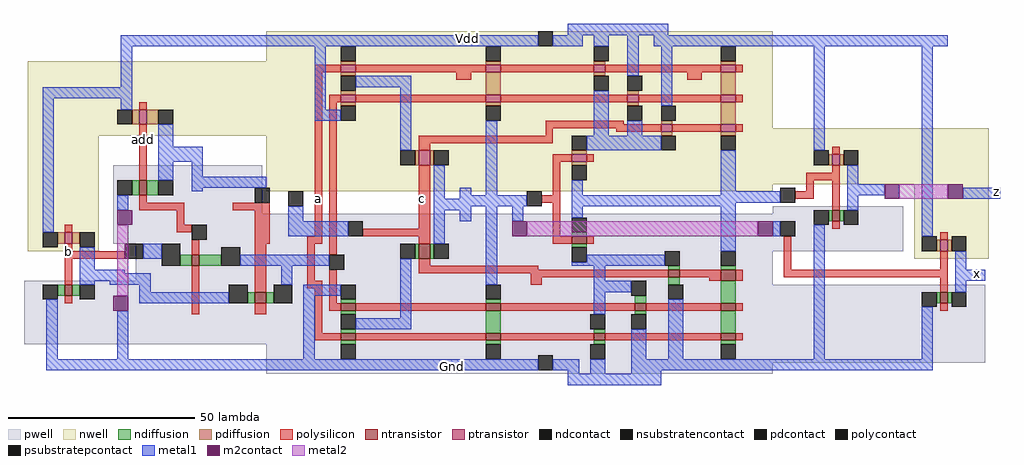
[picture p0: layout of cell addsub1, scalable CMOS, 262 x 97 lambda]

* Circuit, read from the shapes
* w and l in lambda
.subckt addsub1 Gnd Vdd a add b c x z
M1 n1 b Gnd Gnd nfet w=3 l=2
M2 n2 add Gnd Gnd nfet w=4 l=2
M3 n3 add b Gnd nfet w=3 l=2
M4 n3 n2 n1 Gnd nfet w=3 l=3
M5 n4 a Gnd Gnd nfet w=4 l=2
M6 Gnd n3 n4 Gnd nfet w=4 l=2
M7 n5 c n4 Gnd nfet w=4 l=3
M8 n6 a Gnd Gnd nfet w=4 l=2
M9 n5 n3 n6 Gnd nfet w=4 l=2
M10 n7 n5 n8 Gnd nfet w=4 l=2
M11 n8 a Gnd Gnd nfet w=3 l=2
M12 n8 n3 Gnd Gnd nfet w=3 l=2
M13 n8 c Gnd Gnd nfet w=3 l=2
M14 n9 a Gnd Gnd nfet w=4 l=2
M15 n10 n3 n9 Gnd nfet w=4 l=2
M16 n7 c n10 Gnd nfet w=4 l=3
M17 z n7 Gnd Gnd nfet w=3 l=2
M18 x n5 Gnd Gnd nfet w=3 l=2
M19 n1 b Vdd Vdd pfet w=3 l=2
M20 n2 add Vdd Vdd pfet w=4 l=2
M21 n11 n3 Vdd Vdd pfet w=4 l=2
M22 Vdd a n11 Vdd pfet w=4 l=2
M23 n5 c n11 Vdd pfet w=4 l=3
M24 n12 n3 n5 Vdd pfet w=4 l=2
M25 Vdd a n12 Vdd pfet w=4 l=2
M26 n13 n5 n7 Vdd pfet w=4 l=2
M27 Vdd a n13 Vdd pfet w=3 l=2
M28 Vdd n3 n13 Vdd pfet w=3 l=2
M29 Vdd c n13 Vdd pfet w=3 l=2
M30 n14 c n7 Vdd pfet w=4 l=2
M31 n15 n3 n14 Vdd pfet w=4 l=2
M32 Vdd a n15 Vdd pfet w=4 l=2
M33 z n7 Vdd Vdd pfet w=3 l=2
M34 x n5 Vdd Vdd pfet w=3 l=2
.ends

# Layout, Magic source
magic
tech scmos
<< pwell >>
rect -89 12 -49 25
rect 88 12 123 14
rect -89 4 123 12
rect -83 2 123 4
rect -83 -6 88 2
rect -113 -7 88 -6
rect -113 -23 145 -7
rect -48 -28 145 -23
rect -48 -31 88 -28
<< nwell >>
rect -48 53 88 61
rect -112 35 88 53
rect -112 33 146 35
rect -112 2 -93 33
rect -48 20 146 33
rect -48 18 88 20
rect 126 0 146 20
<< polysilicon >>
rect -35 50 -28 52
rect -24 50 11 52
rect 15 50 40 52
rect 43 50 74 52
rect 78 50 80 52
rect -82 40 -80 42
rect -82 21 -80 36
rect -82 15 -80 17
rect -82 13 -70 15
rect -57 13 -47 15
rect -72 9 -70 13
rect -102 7 -100 9
rect -72 7 -68 9
rect -102 2 -100 4
rect -102 0 -86 2
rect -102 -7 -100 0
rect -68 1 -66 5
rect -51 4 -47 13
rect -35 6 -33 50
rect 3 48 7 50
rect 65 48 69 50
rect -37 4 -33 6
rect -31 42 -28 44
rect -24 42 11 44
rect 15 42 49 44
rect 52 42 74 44
rect 78 42 80 44
rect -102 -12 -100 -10
rect -68 -15 -66 -2
rect -51 -9 -48 4
rect -37 -6 -35 4
rect -31 1 -29 42
rect 27 36 48 37
rect 27 35 58 36
rect 27 33 29 35
rect 46 34 58 35
rect 61 34 74 36
rect 78 34 80 36
rect -7 31 29 33
rect -7 29 -4 31
rect 29 26 34 28
rect 38 26 40 28
rect -7 8 -4 25
rect 29 17 31 26
rect 104 28 106 30
rect 104 23 106 25
rect 97 21 106 23
rect 26 15 31 17
rect 97 18 99 21
rect 94 16 99 18
rect -22 6 -4 8
rect -7 4 -4 6
rect 29 6 31 15
rect 104 13 106 21
rect 104 8 106 10
rect 29 4 34 6
rect 38 4 40 6
rect -7 -2 -4 0
rect -7 -3 25 -2
rect 91 -3 93 6
rect 133 5 135 7
rect 133 -3 135 2
rect -37 -8 -33 -6
rect -51 -15 -48 -12
rect -35 -20 -33 -8
rect -31 -12 -29 -3
rect -7 -4 60 -3
rect 23 -5 60 -4
rect 63 -5 74 -3
rect 23 -7 26 -5
rect 71 -6 74 -5
rect 78 -6 80 -3
rect 91 -5 135 -3
rect 133 -9 135 -5
rect -31 -14 -28 -12
rect -24 -14 11 -12
rect 15 -14 51 -12
rect 54 -14 74 -12
rect 78 -14 80 -12
rect 133 -14 135 -12
rect -35 -22 -28 -20
rect -24 -22 11 -20
rect 15 -22 40 -20
rect 43 -22 74 -20
rect 78 -22 80 -20
<< ndiffusion >>
rect -84 17 -82 21
rect -80 17 -77 21
rect -71 -2 -68 1
rect -66 -2 -60 1
rect -104 -10 -102 -7
rect -100 -10 -98 -7
rect 34 6 38 7
rect 103 10 104 13
rect 106 10 107 13
rect -8 0 -7 4
rect -4 0 -3 4
rect 34 3 38 4
rect 60 -3 63 -2
rect 74 -3 78 -2
rect -53 -12 -51 -9
rect -48 -12 -46 -9
rect -28 -12 -24 -11
rect 11 -12 15 -11
rect 51 -12 54 -10
rect 60 -7 63 -5
rect 74 -12 78 -6
rect 132 -12 133 -9
rect 135 -12 136 -9
rect -28 -15 -24 -14
rect -28 -20 -24 -19
rect 11 -20 15 -14
rect 51 -15 54 -14
rect 40 -20 43 -19
rect 74 -20 78 -14
rect -28 -23 -24 -22
rect 11 -23 15 -22
rect 40 -23 43 -22
rect 74 -23 78 -22
<< pdiffusion >>
rect -28 52 -24 53
rect 11 52 15 53
rect 40 52 43 53
rect 74 52 78 53
rect -84 36 -82 40
rect -80 36 -77 40
rect -104 4 -102 7
rect -100 4 -98 7
rect -28 49 -24 50
rect -28 44 -24 45
rect 11 44 15 50
rect 40 49 43 50
rect 49 44 52 45
rect 74 44 78 50
rect -28 41 -24 42
rect 11 41 15 42
rect 49 41 52 42
rect 58 36 61 37
rect 74 36 78 42
rect 58 33 61 34
rect 74 33 78 34
rect -8 25 -7 29
rect -4 25 -3 29
rect 34 28 38 29
rect 34 25 38 26
rect 103 25 104 28
rect 106 25 107 28
rect 132 2 133 5
rect 135 2 136 5
<< metal1 >>
rect -87 57 25 60
rect 33 60 60 63
rect 29 57 37 60
rect 40 57 44 60
rect -87 46 -84 57
rect -108 43 -84 46
rect -108 7 -105 43
rect -87 40 -84 43
rect -35 40 -32 57
rect 49 49 52 60
rect 56 57 135 60
rect -24 46 -9 49
rect -35 37 -28 40
rect -77 30 -73 36
rect -77 26 -65 30
rect -77 21 -73 26
rect -68 22 -65 26
rect -12 29 -9 46
rect -68 19 -48 22
rect -68 18 -65 19
rect -88 13 -85 17
rect -42 10 -38 14
rect -3 16 0 25
rect 4 17 7 19
rect 11 17 14 37
rect 40 33 44 45
rect 58 41 61 57
rect 49 33 53 37
rect 38 29 58 33
rect 4 16 22 17
rect -3 14 22 16
rect 34 17 37 21
rect 74 18 78 29
rect 99 29 102 57
rect 108 20 111 25
rect 74 17 90 18
rect 34 15 90 17
rect 108 17 118 20
rect 34 14 78 15
rect -3 13 7 14
rect -42 6 -26 10
rect -3 4 0 13
rect 4 10 7 13
rect -98 -3 -94 3
rect -81 0 -76 4
rect -55 -2 -31 1
rect -98 -4 -86 -3
rect -98 -6 -79 -4
rect -98 -7 -94 -6
rect -90 -7 -79 -6
rect -44 -7 -41 -2
rect -82 -9 -79 -7
rect -107 -27 -104 -11
rect -82 -12 -58 -9
rect -38 -10 -28 -7
rect -88 -27 -85 -14
rect -38 -27 -35 -10
rect -12 -16 -9 0
rect 11 -7 14 14
rect 18 10 21 14
rect 34 11 37 14
rect 74 2 78 14
rect 108 13 111 17
rect 88 6 90 10
rect 38 -1 59 1
rect 34 -2 59 -1
rect 40 -6 43 -2
rect 40 -9 50 -6
rect 40 -15 43 -9
rect -24 -19 -9 -16
rect -107 -30 25 -27
rect 29 -30 36 -27
rect 33 -31 36 -30
rect 39 -31 43 -27
rect 50 -27 54 -19
rect 60 -27 64 -11
rect 99 -27 102 9
rect 128 6 131 57
rect 139 16 149 19
rect 137 -3 140 2
rect 137 -6 145 -3
rect 137 -9 140 -6
rect 128 -27 131 -13
rect 50 -30 131 -27
rect 50 -31 58 -30
rect 33 -34 58 -31
<< metal2 >>
rect 122 16 135 20
rect -88 -10 -85 9
rect 22 6 84 10
<< ntransistor >>
rect -82 17 -80 21
rect -68 -2 -66 1
rect -102 -10 -100 -7
rect 104 10 106 13
rect 34 4 38 6
rect -7 0 -4 4
rect -51 -12 -48 -9
rect 60 -5 63 -3
rect 74 -6 78 -3
rect -28 -14 -24 -12
rect 11 -14 15 -12
rect 51 -14 54 -12
rect 74 -14 78 -12
rect 133 -12 135 -9
rect -28 -22 -24 -20
rect 11 -22 15 -20
rect 40 -22 43 -20
rect 74 -22 78 -20
<< ptransistor >>
rect -28 50 -24 52
rect 11 50 15 52
rect 40 50 43 52
rect 74 50 78 52
rect -82 36 -80 40
rect -102 4 -100 7
rect -28 42 -24 44
rect 11 42 15 44
rect 49 42 52 44
rect 74 42 78 44
rect 58 34 61 36
rect 74 34 78 36
rect -7 25 -4 29
rect 34 26 38 28
rect 104 25 106 28
rect 133 2 135 5
<< polycontact >>
rect -51 15 -47 19
rect -42 14 -38 18
rect -68 5 -64 9
rect -86 0 -81 4
rect -26 6 -22 10
rect 22 14 26 18
rect 90 15 94 19
rect 90 6 94 10
rect -31 -3 -27 1
<< ndcontact >>
rect -88 17 -84 21
rect -77 17 -73 21
rect -76 -2 -71 4
rect -60 -2 -55 3
rect -108 -11 -104 -7
rect -98 -11 -94 -7
rect -58 -12 -53 -7
rect 34 7 38 11
rect 99 9 103 13
rect 107 9 111 13
rect -12 0 -8 4
rect -3 0 1 4
rect 34 -1 38 3
rect 59 -2 63 2
rect 74 -2 78 2
rect -46 -12 -41 -7
rect -28 -11 -24 -7
rect 11 -11 15 -7
rect 50 -10 54 -6
rect 60 -11 64 -7
rect 128 -13 132 -9
rect 136 -13 140 -9
rect -28 -19 -24 -15
rect 39 -19 43 -15
rect 50 -19 54 -15
rect -28 -27 -24 -23
rect 11 -27 15 -23
rect 39 -27 43 -23
rect 74 -27 78 -23
<< pdcontact >>
rect -28 53 -24 57
rect 11 53 15 57
rect 40 53 44 57
rect 74 53 78 57
rect -88 36 -84 40
rect -77 36 -73 40
rect -108 3 -104 7
rect -98 3 -94 7
rect -28 45 -24 49
rect 40 45 44 49
rect 49 45 53 49
rect -28 37 -24 41
rect 11 37 15 41
rect 49 37 53 41
rect 58 37 62 41
rect 34 29 38 33
rect 58 29 62 33
rect 74 29 78 33
rect -12 25 -8 29
rect -3 25 1 29
rect 99 25 103 29
rect 107 25 111 29
rect 34 21 38 25
rect 128 2 132 6
rect 136 2 140 6
<< m2contact >>
rect -88 9 -84 13
rect -89 -14 -85 -10
rect 18 6 22 10
rect 118 16 122 20
rect 84 6 88 10
rect 135 16 139 20
<< psubstratepcontact >>
rect 25 -30 29 -26
<< nsubstratencontact >>
rect 25 57 29 61
<< labels >>
rlabel polysilicon -34 16 -34 16 1 a
rlabel polysilicon -6 16 -6 16 1 c
rlabel metal1 6 59 6 59 5 Vdd
rlabel metal1 2 -29 2 -29 1 Gnd
rlabel polysilicon -81 32 -81 32 1 add
rlabel polysilicon -101 2 -101 2 1 b
rlabel metal1 143 -4 143 -4 7 x
rlabel metal1 148 18 148 18 1 z
<< end >>
